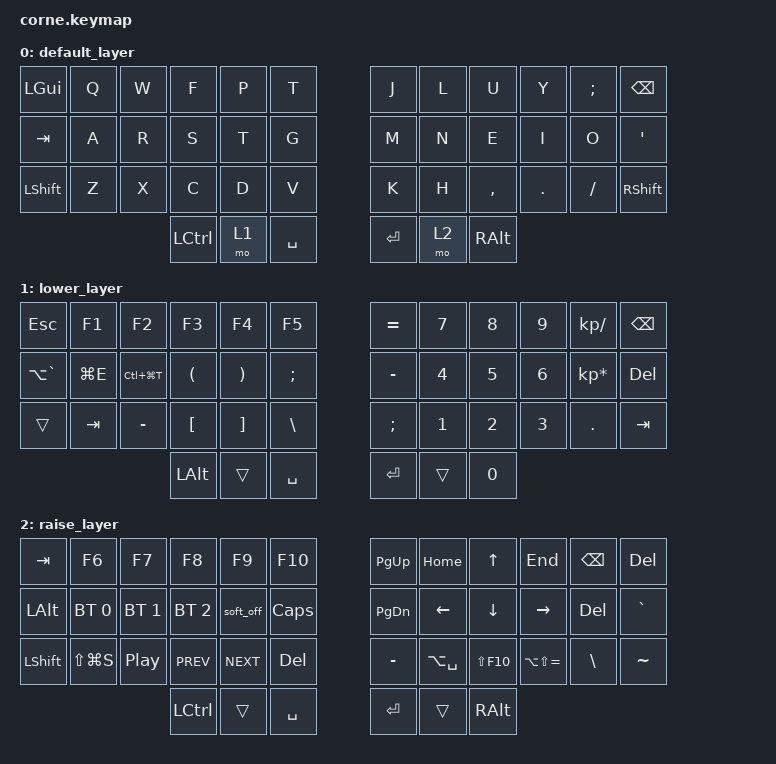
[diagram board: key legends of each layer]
/*
 * Copyright (c) 2020 The ZMK Contributors
 *
 * SPDX-License-Identifier: MIT
 */

#include <behaviors.dtsi>
#include <dt-bindings/zmk/bt.h>
#include <dt-bindings/zmk/keys.h>

/ {
    combos {
        compatible = "zmk,combos";

        combo_esc {
            bindings = <&kp LA(F4)>;
            key-positions = <12 0>;
            layers = <1>;
        };

        combo_del {
            bindings = <&kp DELETE>;
            key-positions = <10 11>;
        };
    };

    keymap {
        compatible = "zmk,keymap";

        default_layer {
            // -----------------------------------------------------------------------------------------
            // |  TAB |  Q  |  W  |  E  |  R  |  T  |   |  Y  |  U   |  I  |  O  |  P  | BKSP |
            // | CTRL |  A  |  S  |  D  |  F  |  G  |   |  H  |  J   |  K  |  L  |  ;  |  '   |
            // | SHFT |  Z  |  X  |  C  |  V  |  B  |   |  N  |  M   |  ,  |  .  |  /  | ESC  |
            //                    | GUI | LWR | SPC |   | ENT | RSE  | ALT |

            bindings = <
&kp LEFT_GUI  &kp Q  &kp W  &kp F      &kp P  &kp T      &kp J    &kp L  &kp U      &kp Y       &kp SEMICOLON  &kp BACKSPACE
&kp TAB       &kp A  &kp R  &kp S      &kp T  &kp G      &kp M    &kp N  &kp E      &kp I       &kp O          &kp SQT
&kp LSHFT     &kp Z  &kp X  &kp C      &kp D  &kp V      &kp K    &kp H  &kp COMMA  &kp PERIOD  &kp SLASH      &kp RSHIFT
                            &kp LCTRL  &mo 1  &kp SPACE  &kp RET  &mo 2  &kp RALT
            >;
        };

        lower_layer {
            // -----------------------------------------------------------------------------------------
            // |  TAB |  1  |  2  |  3  |  4  |  5  |   |  6  |  7  |  8  |  9  |  0  | BKSP |
            // | BTCLR| BT1 | BT2 | BT3 | BT4 | BT5 |   | LFT | DWN |  UP | RGT |     |      |
            // | SHFT |     |     |     |     |     |   |     |     |     |     |     |      |
            //                    | GUI |     | SPC |   | ENT |     | ALT |

            bindings = <
&kp ESC        &kp F1     &kp F2         &kp F3                &kp F4                 &kp F5         &kp EQUAL      &kp NUMBER_7  &kp NUMBER_8  &kp NUMBER_9  &kp KP_DIVIDE    &kp BACKSPACE
&kp LA(GRAVE)  &kp LG(E)  &kp LC(LG(T))  &kp LEFT_PARENTHESIS  &kp RIGHT_PARENTHESIS  &kp SEMICOLON  &kp MINUS      &kp NUMBER_4  &kp NUMBER_5  &kp NUMBER_6  &kp KP_MULTIPLY  &kp DELETE
&trans         &kp TAB    &kp MINUS      &kp LEFT_BRACKET      &kp RIGHT_BRACKET      &kp BACKSLASH  &kp SEMICOLON  &kp NUMBER_1  &kp NUMBER_2  &kp NUMBER_3  &kp PERIOD       &kp TAB
                                         &kp LEFT_ALT          &trans                 &kp SPACE      &kp RET        &trans        &kp NUMBER_0
            >;
        };

        raise_layer {
            // -----------------------------------------------------------------------------------------
            // |  TAB |  !  |  @  |  #  |  $  |  %  |   |  ^  |  &  |  *  |  (  |  )  | BKSP |
            // | CTRL |     |     |     |     |     |   |  -  |  =  |  [  |  ]  |  \  |  `   |
            // | SHFT |     |     |     |     |     |   |  _  |  +  |  {  |  }  | "|" |  ~   |
            //                    | GUI |     | SPC |   | ENT |     | ALT |

            bindings = <
&kp TAB       &kp F6         &kp F7            &kp F8        &kp F9      &kp F10       &kp PG_UP  &kp HOME        &kp UP_ARROW    &kp END            &kp BACKSPACE  &kp DEL
&kp LEFT_ALT  &bt BT_SEL 0   &bt BT_SEL 1      &bt BT_SEL 2  &soft_off   &kp CAPSLOCK  &kp PG_DN  &kp LEFT_ARROW  &kp DOWN_ARROW  &kp RIGHT_ARROW    &kp DEL        &kp GRAVE
&kp LSHFT     &kp LS(LG(S))  &kp C_PLAY_PAUSE  &kp C_PREV    &kp C_NEXT  &kp DEL       &kp MINUS  &kp LA(SPACE)   &kp LS(F10)     &kp LA(LS(EQUAL))  &kp BACKSLASH  &kp TILDE
                                               &kp LCTRL     &trans      &kp SPACE     &kp RET    &trans          &kp RIGHT_ALT
            >;
        };
    };
};
